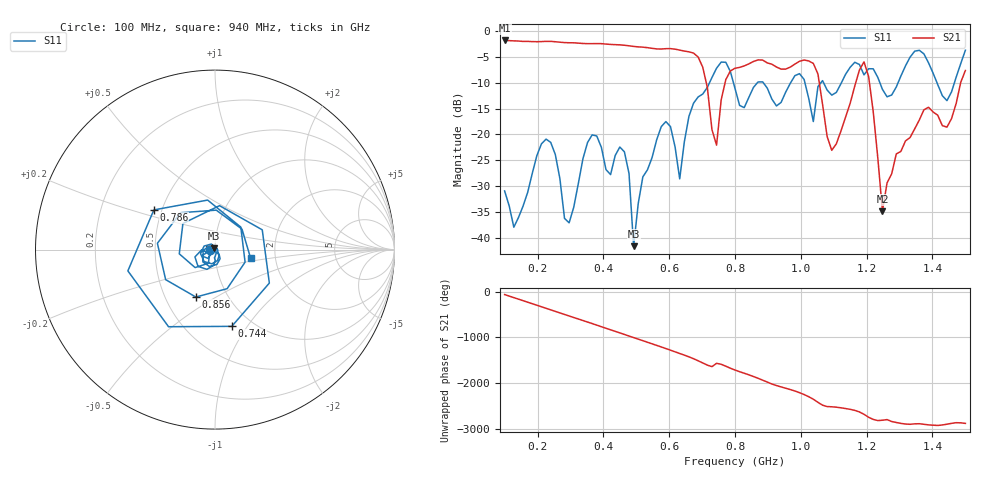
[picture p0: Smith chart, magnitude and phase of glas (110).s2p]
! NanoVNA-App
! Date: 2025-09-25 15:56:20
! Start: 100MHz Stop: 1,5GHz Points: 101
! S-Parameter data: F S11 S21 S12 S22
# Hz S RI R 50
!  Frequency  S11_Real  S11_Imag  S21_Real  S21_Imag  S12_Real  S12_Imag  S22_Real  S22_Imag
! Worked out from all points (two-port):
!   101 points, 100 MHz to 1.5 GHz, reference 50 ohm
!   highest |S21| = -1.80 dB at 100 MHz (marker M1); lowest = -34.9 dB at 1.248 GHz (marker M2)
!   |S21| within 3 dB of the highest: start of sweep to 684.2 MHz
!   lowest |S11| = -41.7 dB at 492 MHz (marker M3), VSWR 1.02, Z = 49.5 + j0.656 ohm
!   |S11| at or under -10 dB: start of sweep to 722.5 MHz; 795.3 MHz to 867.9 MHz (72.62 MHz wide, 8.73 % of centre); 886.1 MHz to 968.9 MHz (82.86 MHz wide, 8.93 % of centre) (the widest 3 of 7)
!   S12 and S22 are empty: the file has one direction only
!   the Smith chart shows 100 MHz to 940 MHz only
!   S11 on the Smith chart (normalised r, x): 100 MHz: 0.95, -0.01; 744 MHz: 0.80, -0.85; 786 MHz: 0.45, +0.24; 856 MHz: 0.71, -0.41; 940 MHz: 1.49, -0.15
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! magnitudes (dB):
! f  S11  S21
! 100 MHz  -31.0  -1.8
! 128 MHz  -38.0  -1.9
! 226 MHz  -20.9  -2.0
! 296 MHz  -37.1  -2.2
! 338 MHz  -24.7  -2.4
! 464 MHz  -23.4  -2.7
! 492 MHz  -41.7  -3.0
! 576 MHz  -18.5  -3.5
! 632 MHz  -28.6  -3.7
! 702 MHz  -12.2  -7.0
! 744 MHz  -7.2  -22.1
! 786 MHz  -7.8  -7.7
! 800 MHz  -11.1  -7.2
! 856 MHz  -10.9  -5.9
! 940 MHz  -13.8  -7.4
! 996 MHz  -8.2  -5.8
! 1.038 GHz  -17.5  -6.3
! 1.094 GHz  -12.4  -23.1
! 1.192 GHz  -8.5  -5.9
! 1.248 GHz  -11.3  -34.9
! 1.276 GHz  -12.4  -27.6
! 1.5 GHz  -3.7  -7.6
